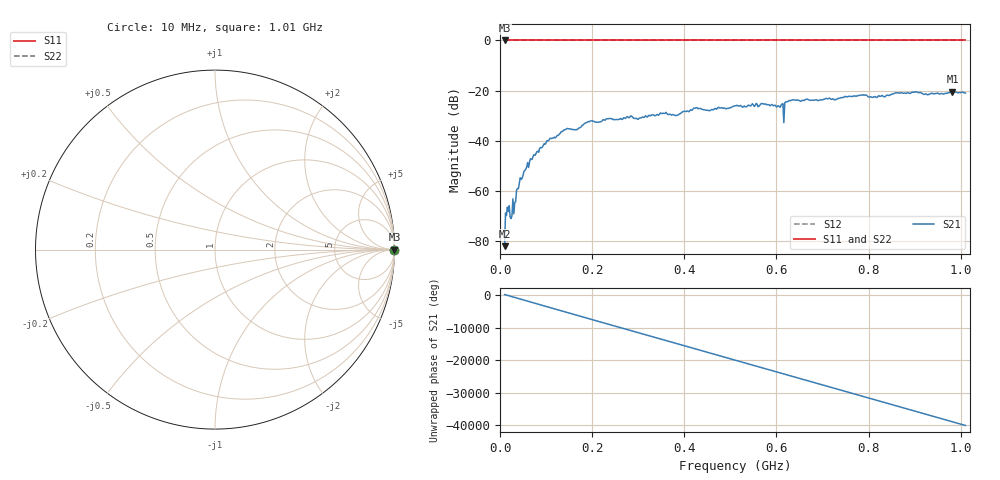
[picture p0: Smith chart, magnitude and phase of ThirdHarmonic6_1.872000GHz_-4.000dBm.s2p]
! 8/16/2025 10:37:24 PM
! C:\ANRITSUVNA\TEMP\TEMP.S2P
! CHANNEL.1
! TR.MEASUREMENT
! RAW.DATA
! RF.CORRECTION.OFF
! AVERAGING.OFF
! IF.BANDWIDTH: 5KHZ
! SWEEPTYPE:  FREQ.SWEEP(Linear)
! Reference Plane Port Info
! PORT:  PORT1  PORT2
! DISTANCE:  0  m  0  m
! TIME:  0  s  0  s
! PHASE.OFFSET:  0  deg.  0  deg.
! LOSS:  0  dB  0  dB
! REF.LOSS:  0  dB  0  dB
! REF.FREQ:  0  Hz  0  Hz
! Power Info
! POWER:  -20  dBm  -20  dBm
! EFF.POWER:  -20  dBm  -20  dBm
! SOURCE.ATTEN:  0  dB  0  dB
! TEST.ATTEN:  0  dB  0  dB
# GHZ S RI R 50.0
! FREQ.GHZ  S11RE  S11IM  S21RE  S21IM  S12RE  S12IM  S22RE  S22IM
!; PortSelection: Port_12
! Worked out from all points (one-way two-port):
!   501 points, 10 MHz to 1.01 GHz, reference 50 ohm
!   highest |S21| = -20.42 dB at 982 MHz (marker M1); lowest = -82.0 dB at 10 MHz (marker M2)
!   lowest |S11| = 0.0 dB at 10 MHz (marker M3)
!   |S11| at or under -10 dB: nowhere
!   |S22| runs from 0.0 to 0.0 dB; largest |S21 - S12| = 1.1
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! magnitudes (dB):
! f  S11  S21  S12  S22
! 10 MHz  0.0  -82.0  0.0  0.0
! 16 MHz  0.0  -66.4  0.0  0.0
! 26 MHz  0.0  -69.9  0.0  0.0
! 40 MHz  0.0  -59.1  0.0  0.0
! 70 MHz  0.0  -47.3  0.0  0.0
! 106 MHz  0.0  -39.8  0.0  0.0
! 142 MHz  0.0  -35.5  0.0  0.0
! 178 MHz  0.0  -33.9  0.0  0.0
! 196 MHz  0.0  -32.1  0.0  0.0
! 344 MHz  0.0  -29.8  0.0  0.0
! 382 MHz  0.0  -29.8  0.0  0.0
! 424 MHz  0.0  -27.0  0.0  0.0
! 452 MHz  0.0  -27.9  0.0  0.0
! 510 MHz  0.0  -26.1  0.0  0.0
! 572 MHz  0.0  -25.3  0.0  0.0
! 610 MHz  0.0  -25.7  0.0  0.0
! 612 MHz  0.0  -25.4  0.0  0.0
! 632 MHz  0.0  -23.9  0.0  0.0
! 678 MHz  0.0  -23.8  0.0  0.0
! 844 MHz  0.0  -21.9  0.0  0.0
! 982 MHz  0.0  -20.4  0.0  0.0
! 1.01 GHz  0.0  -21.0  0.0  0.0
